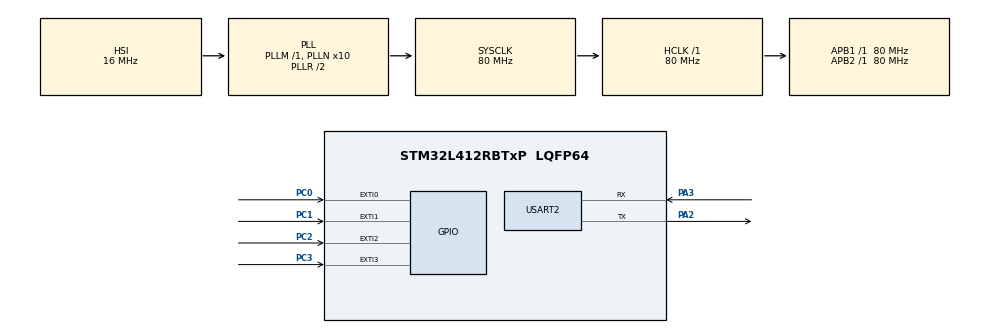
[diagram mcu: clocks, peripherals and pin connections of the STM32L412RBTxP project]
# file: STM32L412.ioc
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FREERTOS.BinarySemaphores01=xSemaphoreBiEncoder,Dynamic,NULL;xSemaphoreBiSync,Dynamic,NULL
FREERTOS.Queues01=xQueueUSART,3,20,1,Dynamic,NULL,NULL
FREERTOS.Tasks01=SendOdom,24,128,prvSendOdom,Default,NULL,Dynamic,NULL,NULL;SendMessage,24,128,prvSendMessage,Default,NULL,Dynamic,NULL,NULL
FREERTOS.configUSE_NEWLIB_REENTRANT=1
FREERTOS.configUSE_PREEMPTION=1
Mcu.Family=STM32L4
Mcu.Name=STM32L412RBTxP
Mcu.Package=LQFP64
NVIC.EXTI0_IRQn=true\:5\:0\:false\:false\:true\:true\:true\:true
NVIC.EXTI1_IRQn=true\:5\:0\:false\:false\:true\:true\:true\:true
NVIC.EXTI2_IRQn=true\:5\:0\:false\:false\:true\:true\:true\:true
NVIC.EXTI3_IRQn=true\:5\:0\:false\:false\:true\:true\:true\:true
NVIC.PriorityGroup=NVIC_PRIORITYGROUP_4
NVIC.TIM6_IRQn=true\:15\:0\:false\:false\:true\:false\:false\:true
NVIC.TimeBase=TIM6_IRQn
NVIC.TimeBaseIP=TIM6
PA13\ (JTMS/SWDIO).Mode=Serial_Wire
PA13\ (JTMS/SWDIO).Signal=SYS_JTMS-SWDIO
PA14\ (JTCK/SWCLK).Mode=Serial_Wire
PA14\ (JTCK/SWCLK).Signal=SYS_JTCK-SWCLK
PA2.Mode=Asynchronous
PA2.Signal=USART2_TX
PA3.Mode=Asynchronous
PA3.Signal=USART2_RX
PC0.GPIO_ModeDefaultEXTI=GPIO_MODE_IT_RISING_FALLING
PC0.Signal=GPXTI0
PC1.GPIO_ModeDefaultEXTI=GPIO_MODE_IT_RISING_FALLING
PC1.Signal=GPXTI1
PC2.GPIO_ModeDefaultEXTI=GPIO_MODE_IT_RISING_FALLING
PC2.Signal=GPXTI2
PC3.GPIO_ModeDefaultEXTI=GPIO_MODE_IT_RISING_FALLING
PC3.Signal=GPXTI3
ProjectManager.HeapSize=0x200
ProjectManager.StackSize=0x400
ProjectManager.TargetToolchain=STM32CubeIDE
RCC.ADCFreq_Value=80000000
RCC.AHBFreq_Value=80000000
RCC.APB1Freq_Value=80000000
RCC.APB1TimFreq_Value=80000000
RCC.APB2Freq_Value=80000000
RCC.APB2TimFreq_Value=80000000
RCC.CortexFreq_Value=80000000
RCC.HCLKFreq_Value=80000000
RCC.HSE_VALUE=8000000
RCC.HSI48_VALUE=48000000
RCC.HSI_VALUE=16000000
RCC.LSE_VALUE=32768
RCC.MSI_VALUE=4000000
RCC.PLLN=10
RCC.PLLSourceVirtual=RCC_PLLSOURCE_HSI
RCC.SYSCLKFreq_VALUE=80000000
RCC.SYSCLKSource=RCC_SYSCLKSOURCE_PLLCLK
RCC.USBFreq_Value=4000000
RCC.VCOOutputFreq_Value=160000000
USART2.VirtualMode-Asynchronous=VM_ASYNC
VP_FREERTOS_VS_CMSIS_V2.Mode=CMSIS_V2
VP_SYS_VS_tim6.Mode=TIM6
board=custom

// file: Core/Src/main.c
/* USER CODE BEGIN Header */
/**
  ******************************************************************************
  * @file           : main.c
  * @brief          : Main program body
  ******************************************************************************
  * @attention
  *
  * Copyright (c) 2022 STMicroelectronics.
  * All rights reserved.
  *
  * This software is licensed under terms that can be found in the LICENSE file
  * in the root directory of this software component.
  * If no LICENSE file comes with this software, it is provided AS-IS.
  *
  ******************************************************************************
  */
/* USER CODE END Header */
#include "main.h"
#include "cmsis_os.h"

/* USER CODE BEGIN Includes */

#include <string.h>
#include <stdio.h>
#include <stdint.h>
#include <stdlib.h>
/* Scheduler includes. */
#include "FreeRTOS.h"
#include "task.h"

#include <stm32l4xx_it.h>
/*Mutex includes*/
#include "semphr.h"
#include "queue.h"

/* USER CODE END Includes */

UART_HandleTypeDef huart2;

/* Definitions for SendOdom */
osThreadId_t SendOdomHandle;
const osThreadAttr_t SendOdom_attributes = {
  .name = "SendOdom",
  .stack_size = 128 * 4,
  .priority = (osPriority_t) osPriorityNormal,
};
/* Definitions for SendMessage */
osThreadId_t SendMessageHandle;
const osThreadAttr_t SendMessage_attributes = {
  .name = "SendMessage",
  .stack_size = 128 * 4,
  .priority = (osPriority_t) osPriorityNormal,
};
/* Definitions for xQueueUSART */
osMessageQueueId_t xQueueUSARTHandle;
const osMessageQueueAttr_t xQueueUSART_attributes = {
  .name = "xQueueUSART"
};
/* Definitions for xSemaphoreBiEncoder */
osSemaphoreId_t xSemaphoreBiEncoderHandle;
const osSemaphoreAttr_t xSemaphoreBiEncoder_attributes = {
  .name = "xSemaphoreBiEncoder"
};
/* Definitions for xSemaphoreBiSync */
osSemaphoreId_t xSemaphoreBiSyncHandle;
const osSemaphoreAttr_t xSemaphoreBiSync_attributes = {
  .name = "xSemaphoreBiSync"
};
/* USER CODE BEGIN PV */
int32_t Wheel_R, Wheel_L;
int QEM[16]={0,-1,1,2,1,0,2,-1,-1,2,0,1,2,1,-1,0};
uint8_t Wheel_R_Old=0, Wheel_R_New=0, Wheel_L_Old=0, Wheel_L_New=0;

/* USER CODE END PV */

void SystemClock_Config(void);
static void MX_GPIO_Init(void);
static void MX_USART2_UART_Init(void);
void prvSendOdom(void *argument);
void prvSendMessage(void *argument);

int main(void)
{

  /* MCU Configuration--------------------------------------------------------*/

  /* Reset of all peripherals, Initializes the Flash interface and the Systick. */
  HAL_Init();

  /* Configure the system clock */
  SystemClock_Config();

  /* Initialize all configured peripherals */
  MX_GPIO_Init();
  MX_USART2_UART_Init();

  /* Init scheduler */
  osKernelInitialize();

  /* Create the semaphores(s) */
  /* creation of xSemaphoreBiEncoder */
  xSemaphoreBiEncoderHandle = osSemaphoreNew(1, 1, &xSemaphoreBiEncoder_attributes);

  /* creation of xSemaphoreBiSync */
  xSemaphoreBiSyncHandle = osSemaphoreNew(1, 1, &xSemaphoreBiSync_attributes);

  /* Create the queue(s) */
  /* creation of xQueueUSART */
  xQueueUSARTHandle = osMessageQueueNew (3, 20, &xQueueUSART_attributes);

  /* Create the thread(s) */
  /* creation of SendOdom */
  SendOdomHandle = osThreadNew(prvSendOdom, NULL, &SendOdom_attributes);

  /* creation of SendMessage */
  SendMessageHandle = osThreadNew(prvSendMessage, NULL, &SendMessage_attributes);

  /* Start scheduler */
  osKernelStart();

  /* We should never get here as control is now taken by the scheduler */
  /* Infinite loop */
  while (1)
  {

  }
}

void SystemClock_Config(void)
{
  RCC_OscInitTypeDef RCC_OscInitStruct = {0};
  RCC_ClkInitTypeDef RCC_ClkInitStruct = {0};

  /** Configure the main internal regulator output voltage
  */
  if (HAL_PWREx_ControlVoltageScaling(PWR_REGULATOR_VOLTAGE_SCALE1) != HAL_OK)
  {
    Error_Handler();
  }
  /** Initializes the RCC Oscillators according to the specified parameters
  * in the RCC_OscInitTypeDef structure.
  */
  RCC_OscInitStruct.OscillatorType = RCC_OSCILLATORTYPE_HSI;
  RCC_OscInitStruct.HSIState = RCC_HSI_ON;
  RCC_OscInitStruct.HSICalibrationValue = RCC_HSICALIBRATION_DEFAULT;
  RCC_OscInitStruct.PLL.PLLState = RCC_PLL_ON;
  RCC_OscInitStruct.PLL.PLLSource = RCC_PLLSOURCE_HSI;
  RCC_OscInitStruct.PLL.PLLM = 1;
  RCC_OscInitStruct.PLL.PLLN = 10;
  RCC_OscInitStruct.PLL.PLLQ = RCC_PLLQ_DIV2;
  RCC_OscInitStruct.PLL.PLLR = RCC_PLLR_DIV2;
  if (HAL_RCC_OscConfig(&RCC_OscInitStruct) != HAL_OK)
  {
    Error_Handler();
  }
  /** Initializes the CPU, AHB and APB buses clocks
  */
  RCC_ClkInitStruct.ClockType = RCC_CLOCKTYPE_HCLK|RCC_CLOCKTYPE_SYSCLK
                              |RCC_CLOCKTYPE_PCLK1|RCC_CLOCKTYPE_PCLK2;
  RCC_ClkInitStruct.SYSCLKSource = RCC_SYSCLKSOURCE_PLLCLK;
  RCC_ClkInitStruct.AHBCLKDivider = RCC_SYSCLK_DIV1;
  RCC_ClkInitStruct.APB1CLKDivider = RCC_HCLK_DIV1;
  RCC_ClkInitStruct.APB2CLKDivider = RCC_HCLK_DIV1;

  if (HAL_RCC_ClockConfig(&RCC_ClkInitStruct, FLASH_LATENCY_4) != HAL_OK)
  {
    Error_Handler();
  }
}

static void MX_USART2_UART_Init(void)
{

  huart2.Instance = USART2;
  huart2.Init.BaudRate = 115200;
  huart2.Init.WordLength = UART_WORDLENGTH_8B;
  huart2.Init.StopBits = UART_STOPBITS_1;
  huart2.Init.Parity = UART_PARITY_NONE;
  huart2.Init.Mode = UART_MODE_TX_RX;
  huart2.Init.HwFlowCtl = UART_HWCONTROL_NONE;
  huart2.Init.OverSampling = UART_OVERSAMPLING_16;
  huart2.Init.OneBitSampling = UART_ONE_BIT_SAMPLE_DISABLE;
  huart2.AdvancedInit.AdvFeatureInit = UART_ADVFEATURE_NO_INIT;
  if (HAL_UART_Init(&huart2) != HAL_OK)
  {
    Error_Handler();
  }

}

static void MX_GPIO_Init(void)
{
  GPIO_InitTypeDef GPIO_InitStruct = {0};

  /* GPIO Ports Clock Enable */
  __HAL_RCC_GPIOC_CLK_ENABLE();
  __HAL_RCC_GPIOA_CLK_ENABLE();

  /*Configure GPIO pins : PC0 PC1 PC2 PC3 */
  GPIO_InitStruct.Pin = GPIO_PIN_0|GPIO_PIN_1|GPIO_PIN_2|GPIO_PIN_3;
  GPIO_InitStruct.Mode = GPIO_MODE_IT_RISING_FALLING;
  GPIO_InitStruct.Pull = GPIO_NOPULL;
  HAL_GPIO_Init(GPIOC, &GPIO_InitStruct);

  /* EXTI interrupt init*/
  HAL_NVIC_SetPriority(EXTI0_IRQn, 5, 0);
  HAL_NVIC_EnableIRQ(EXTI0_IRQn);

  HAL_NVIC_SetPriority(EXTI1_IRQn, 5, 0);
  HAL_NVIC_EnableIRQ(EXTI1_IRQn);

  HAL_NVIC_SetPriority(EXTI2_IRQn, 5, 0);
  HAL_NVIC_EnableIRQ(EXTI2_IRQn);

  HAL_NVIC_SetPriority(EXTI3_IRQn, 5, 0);
  HAL_NVIC_EnableIRQ(EXTI3_IRQn);

}

/* USER CODE BEGIN 4 */

void HAL_GPIO_EXTI_Callback(uint16_t GPIO_Pin){

	if (GPIO_Pin==GPIO_PIN_9){
		static BaseType_t pxHigherPriorityTaskWoken;

		xSemaphoreGiveFromISR( xSemaphoreBiSyncHandle, &pxHigherPriorityTaskWoken );

		if( pxHigherPriorityTaskWoken == pdTRUE )
			taskYIELD(); /* forces the context change */

	}else if ((GPIO_Pin==GPIO_PIN_0)||(GPIO_Pin==GPIO_PIN_1)){
		static BaseType_t pxHigherPriorityTaskWoken;

		Wheel_L_Old = Wheel_L_New;

		xSemaphoreTakeFromISR(xSemaphoreBiEncoderHandle, &pxHigherPriorityTaskWoken);

		Wheel_L_New = 2*HAL_GPIO_ReadPin(GPIOC, GPIO_PIN_0) + HAL_GPIO_ReadPin(GPIOC, GPIO_PIN_1);
		Wheel_L += QEM[Wheel_L_Old*4 + Wheel_L_New];
		xSemaphoreGiveFromISR( xSemaphoreBiEncoderHandle, &pxHigherPriorityTaskWoken );

		if( pxHigherPriorityTaskWoken == pdTRUE )
			taskYIELD(); /* forces the context change */
	}
	else if ((GPIO_Pin==GPIO_PIN_2)||(GPIO_Pin==GPIO_PIN_3)){
		static BaseType_t pxHigherPriorityTaskWoken;

		Wheel_R_Old = Wheel_R_New;

		xSemaphoreTakeFromISR(xSemaphoreBiEncoderHandle, &pxHigherPriorityTaskWoken);

		Wheel_R_New = 2*HAL_GPIO_ReadPin(GPIOC, GPIO_PIN_3) + HAL_GPIO_ReadPin(GPIOC, GPIO_PIN_2);
		Wheel_R += QEM[Wheel_R_Old*4 + Wheel_R_New];

		xSemaphoreGiveFromISR( xSemaphoreBiEncoderHandle, &pxHigherPriorityTaskWoken );

		if( pxHigherPriorityTaskWoken == pdTRUE )
			taskYIELD(); /* forces the context change */
	}
}

/* USER CODE END 4 */

void prvSendOdom(void *argument)
{
  /* USER CODE BEGIN 5 */
	char message[20];
	int32_t Wheel_R_cpy, Wheel_L_cpy;
  /* Infinite loop */
  for(;;)
  {
	  osDelay(10);

	  xSemaphoreTake(xSemaphoreBiEncoderHandle, ( TickType_t) portMAX_DELAY);
	  Wheel_R_cpy = Wheel_R;
	  Wheel_L_cpy = Wheel_L;

	  Wheel_L = 0;
	  Wheel_R = 0;
      xSemaphoreGive(xSemaphoreBiEncoderHandle);

	  //Create message
	  sprintf(message, "%lu %li %li\n", xTaskGetTickCount(), Wheel_L_cpy, Wheel_R_cpy);

	  xQueueSendToBack( xQueueUSARTHandle, &message, ( TickType_t ) portMAX_DELAY );

  }
  /* USER CODE END 5 */
}

void prvSendMessage(void *argument)
{
  /* USER CODE BEGIN prvSendMessage */
	char message[20];
  /* Infinite loop */
  for(;;)
  {
	  /* Block until receive message. */
	  xQueueReceive( xQueueUSARTHandle, &message, ( TickType_t ) portMAX_DELAY );
	  HAL_UART_Transmit(&huart2, &message, strlen( message ), 20);

  }
  /* USER CODE END prvSendMessage */
}

void HAL_TIM_PeriodElapsedCallback(TIM_HandleTypeDef *htim)
{
  if (htim->Instance == TIM6) {
    HAL_IncTick();
  }
}

void Error_Handler(void)
{
  __disable_irq();
  while (1)
  {
  }
}
